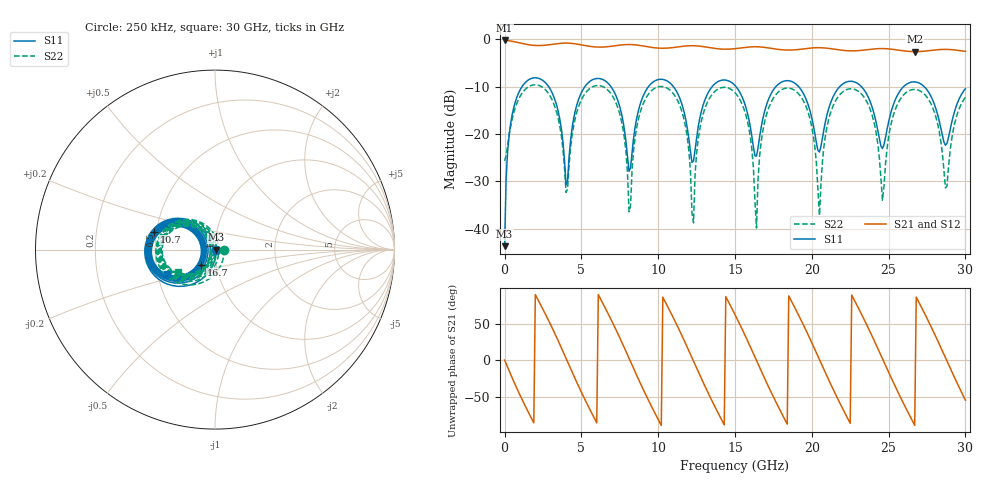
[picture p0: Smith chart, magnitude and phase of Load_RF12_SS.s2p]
! Port 1 = P1 P2
! Port 2 = P2 P2
# hz S ri R 50
! freq  reS11  imS11  reS21  imS21  reS12  imS12  reS22  imS22
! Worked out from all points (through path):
!   301 points, 250 kHz to 30 GHz, reference 50 ohm
!   highest |S21| = -0.25 dB at 250 kHz (marker M1); lowest = -2.6 dB at 26.7 GHz (marker M2)
!   lowest |S11| = -43.7 dB at 250 kHz (marker M3), VSWR 1.01, Z = 50.7 - j0.0105 ohm
!   |S11| at or under -10 dB: 19.14 GHz to 21.82 GHz (2.679 GHz wide, 13.1 % of centre); 23.23 GHz to 25.98 GHz (2.752 GHz wide, 11.2 % of centre); 27.31 GHz to end of sweep (the widest 3 of 8)
!   |S22| runs from -39.9 to -9.6 dB; largest |S21 - S12| = 0
!   S11 on the Smith chart (normalised r, x): 250 kHz: 1.01, -0.00; 10.7 GHz: 0.49, +0.11; 16.7 GHz: 0.84, -0.15; 30 GHz: 0.56, -0.17
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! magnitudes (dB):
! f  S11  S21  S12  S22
! 250 kHz  -43.7  -0.2  -0.2  -25.7
! 300.2 MHz  -20.1  -0.3  -0.3  -20.2
! 1 GHz  -10.7  -0.8  -0.8  -12.1
! 4 GHz  -30.8  -0.8  -0.8  -32.4
! 5.1 GHz  -10.7  -1.2  -1.2  -12.2
! 7.3 GHz  -12.3  -1.3  -1.3  -13.8
! 8.1 GHz  -27.9  -1.1  -1.1  -36.5
! 10.1 GHz  -8.5  -1.9  -1.9  -10.0
! 10.7 GHz  -9.1  -1.8  -1.8  -10.6
! 12.3 GHz  -25.7  -1.4  -1.4  -38.8
! 13 GHz  -13.2  -1.6  -1.6  -15.0
! 15.1 GHz  -10.1  -1.9  -1.9  -11.7
! 16.4 GHz  -24.7  -1.6  -1.6  -39.9
! 16.7 GHz  -18.7  -1.6  -1.6  -21.7
! 20.1 GHz  -18.2  -1.8  -1.8  -20.4
! 20.5 GHz  -23.8  -1.8  -1.8  -37.2
! 21.8 GHz  -10.1  -2.3  -2.3  -11.8
! 24.6 GHz  -23.1  -2.0  -2.0  -34.0
! 25.1 GHz  -16.1  -2.1  -2.1  -18.8
! 26.7 GHz  -9.0  -2.6  -2.6  -10.6
! 28.7 GHz  -22.4  -2.1  -2.1  -31.4
! 30 GHz  -10.5  -2.6  -2.6  -12.3
